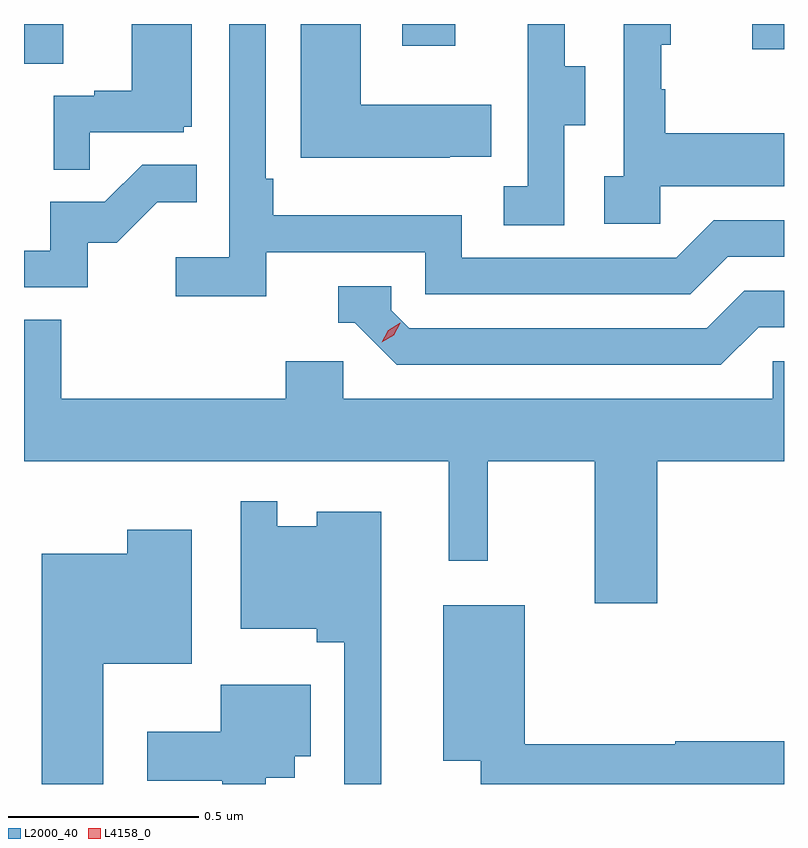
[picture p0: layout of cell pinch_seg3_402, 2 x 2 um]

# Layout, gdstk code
import gdstk
lib = gdstk.Library(unit=1e-6, precision=1e-09)
def R(c, l, rs):  # rectangles x0, y0, x1, y1
    for r in rs: c.add(gdstk.rectangle(r[:2], r[2:], *l))
def P(c, l, *ps):  # polygons
    for p in ps: c.add(gdstk.Polygon(p, *l))
L2000_40 = (2000, 40)
L4158_0 = (4158, 0)

pinch_seg3_402 = lib.new_cell('pinch_seg3_402')
R(pinch_seg3_402, L2000_40, [(942.726,691.306,942.829,691.41), (944.642,691.344,944.726,691.41), (943.721,691.353,943.861,691.41)])
P(pinch_seg3_402, L2000_40, [(944.148,691.144),(944.203,691.144),(944.203,691.299),(944.149,691.299),(944.149,691.41),(944.051,691.41),(944.051,691.287),(944.052,691.287),(944.052,690.983),(943.989,690.983),(943.989,690.88),(944.148,690.88)],
  [(943.847,691.061),(943.955,691.061),(943.955,691.198),(943.612,691.198),(943.612,691.41),(943.454,691.41),(943.454,691.058),(943.847,691.058)],
  [(943.364,690.81),(943.782,690.81),(943.782,690.699),(944.479,690.699),(944.578,690.798),(944.726,690.798),(944.726,690.894),(944.541,690.894),(944.442,690.795),(943.878,690.795),(943.878,690.907),(943.382,690.907),(943.382,691.003),(943.362,691.003),(943.362,691.41),(943.266,691.41),(943.266,690.796),(943.125,690.796),(943.125,690.694),(943.364,690.694)],
  [(944.4,690.983),(944.726,690.983),(944.726,691.123),(944.413,691.123),(944.413,691.238),(944.403,691.238),(944.403,691.356),(944.428,691.356),(944.428,691.41),(944.304,691.41),(944.304,691.01),(944.253,691.01),(944.253,690.885),(944.4,690.885)],
  [(942.899,691.125),(943.146,691.125),(943.146,691.14),(943.168,691.14),(943.168,691.41),(943.01,691.41),(943.01,691.234),(942.911,691.234),(942.911,691.221),(942.804,691.221),(942.804,691.027),(942.899,691.027)],
  [(942.894,690.834),(942.97,690.834),(943.077,690.941),(943.181,690.941),(943.181,691.04),(943.037,691.04),(942.939,690.942),(942.795,690.942),(942.795,690.813),(942.726,690.813),(942.726,690.717),(942.894,690.717)],
  [(944.659,690.612),(944.726,690.612),(944.726,690.708),(944.622,690.708),(944.523,690.609),(943.74,690.609),(943.692,690.657),(943.692,690.72),(943.553,690.72),(943.553,690.624),(943.596,690.624),(943.707,690.513),(944.56,690.513)],
  [(944.392,690.26),(944.726,690.26),(944.726,690.522),(944.697,690.522),(944.697,690.424),(943.566,690.424),(943.566,690.522),(943.415,690.522),(943.415,690.424),(942.824,690.424),(942.824,690.632),(942.726,690.632),(942.726,690.26),(943.844,690.26),(943.844,689.997),(943.946,689.997),(943.946,690.26),(944.228,690.26),(944.228,689.886),(944.392,689.886)],
  [(943.666,690.127),(943.496,690.127),(943.496,690.088),(943.392,690.088),(943.392,690.154),(943.296,690.154),(943.296,689.819),(943.496,689.819),(943.496,689.783),(943.569,689.783),(943.569,689.41),(943.666,689.41)],
  [(942.934,689.726),(943.168,689.726),(943.168,690.079),(942.998,690.079),(942.998,690.016),(942.773,690.016),(942.773,689.41),(942.934,689.41)],
  [(944.726,689.522),(944.44,689.522),(944.44,689.515),(944.044,689.515),(944.044,689.881),(943.829,689.881),(943.829,689.471),(943.928,689.471),(943.928,689.41),(944.726,689.41)],
  [(943.362,689.426),(943.438,689.426),(943.438,689.483),(943.48,689.483),(943.48,689.671),(943.244,689.671),(943.244,689.548),(943.05,689.548),(943.05,689.419),(943.248,689.419),(943.248,689.41),(943.362,689.41)])
P(pinch_seg3_402, L4158_0, [(943.668,690.572),(943.668,690.572),(943.685,690.604),(943.716,690.624),(943.716,690.624),(943.716,690.623),(943.699,690.591),(943.668,690.572)])

lib.write_gds('pinch_seg3_402.gds')
